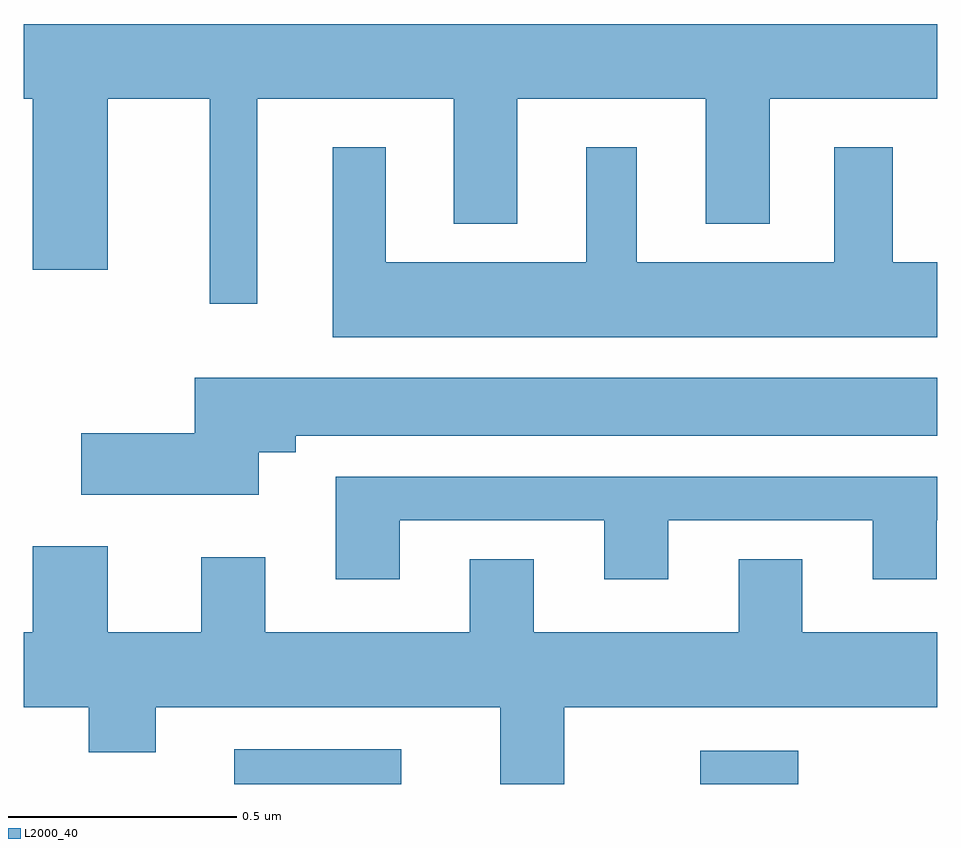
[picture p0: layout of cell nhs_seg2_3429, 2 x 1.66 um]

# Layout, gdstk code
import gdstk
lib = gdstk.Library(unit=1e-6, precision=1e-09)
def R(c, l, rs):  # rectangles x0, y0, x1, y1
    for r in rs: c.add(gdstk.rectangle(r[:2], r[2:], *l))
def P(c, l, *ps):  # polygons
    for p in ps: c.add(gdstk.Polygon(p, *l))
L2000_40 = (2000, 40)

nhs_seg2_3429 = lib.new_cell('nhs_seg2_3429')
R(nhs_seg2_3429, L2000_40, [(153.461,648.8,153.826,648.876), (154.481,648.8,154.696,648.873)])
P(nhs_seg2_3429, L2000_40, [(153.511,650.3),(153.941,650.3),(153.941,650.027),(154.081,650.027),(154.081,650.3),(154.493,650.3),(154.493,650.027),(154.633,650.027),(154.633,650.3),(155,650.3),(155,650.464),(153,650.464),(153,650.3),(153.02,650.3),(153.02,649.926),(153.184,649.926),(153.184,650.3),(153.407,650.3),(153.407,649.851),(153.511,649.851)],
  [(155,649.942),(154.903,649.942),(154.903,650.194),(154.775,650.194),(154.775,649.942),(154.342,649.942),(154.342,650.194),(154.232,650.194),(154.232,649.942),(153.793,649.942),(153.793,650.194),(153.677,650.194),(153.677,649.778),(155,649.778)],
  [(153.514,649.526),(153.595,649.526),(153.595,649.562),(155,649.562),(155,649.69),(153.374,649.69),(153.374,649.568),(153.126,649.568),(153.126,649.433),(153.514,649.433)],
  [(153.823,649.377),(154.271,649.377),(154.271,649.248),(154.411,649.248),(154.411,649.377),(154.859,649.377),(154.859,649.248),(154.999,649.248),(154.999,649.377),(155,649.377),(155,649.473),(153.683,649.473),(153.683,649.248),(153.823,649.248)],
  [(154.183,648.968),(155,648.968),(155,649.132),(154.705,649.132),(154.705,649.292),(154.565,649.292),(154.565,649.132),(154.117,649.132),(154.117,649.292),(153.977,649.292),(153.977,649.132),(153.529,649.132),(153.529,649.297),(153.389,649.297),(153.389,649.132),(153.184,649.132),(153.184,649.321),(153.02,649.321),(153.02,649.132),(153,649.132),(153,648.968),(153.142,648.968),(153.142,648.869),(153.289,648.869),(153.289,648.968),(154.043,648.968),(154.043,648.8),(154.183,648.8)])

lib.write_gds('nhs_seg2_3429.gds')
